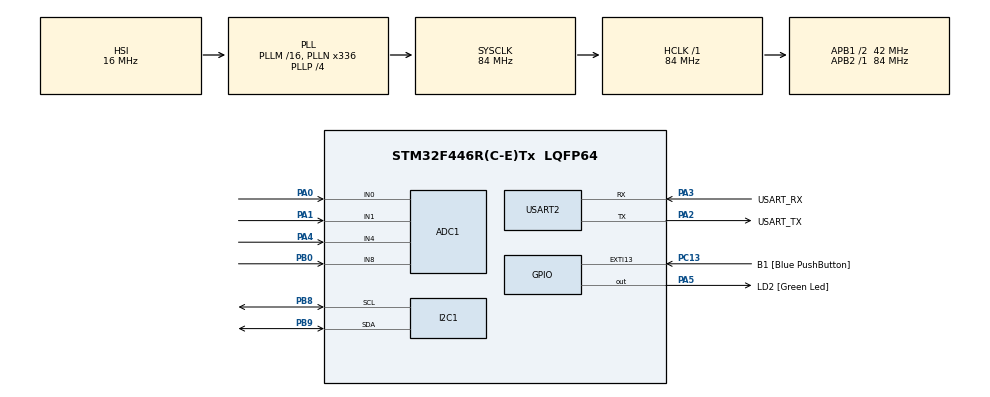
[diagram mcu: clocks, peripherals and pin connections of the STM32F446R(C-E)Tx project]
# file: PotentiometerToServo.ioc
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ADC1.Channel-0\#ChannelRegularConversion=ADC_CHANNEL_0
ADC1.Channel-1\#ChannelRegularConversion=ADC_CHANNEL_1
ADC1.Channel-2\#ChannelRegularConversion=ADC_CHANNEL_4
ADC1.Channel-3\#ChannelRegularConversion=ADC_CHANNEL_8
ADC1.ContinuousConvMode=DISABLE
ADC1.DMAContinuousRequests=ENABLE
ADC1.DiscontinuousConvMode=ENABLE
ADC1.EOCSelection=ADC_EOC_SEQ_CONV
ADC1.NbrOfConversion=4
ADC1.NbrOfConversionFlag=1
ADC1.Rank-0\#ChannelRegularConversion=1
ADC1.Rank-1\#ChannelRegularConversion=2
ADC1.Rank-2\#ChannelRegularConversion=3
ADC1.Rank-3\#ChannelRegularConversion=4
ADC1.SamplingTime-0\#ChannelRegularConversion=ADC_SAMPLETIME_3CYCLES
ADC1.SamplingTime-1\#ChannelRegularConversion=ADC_SAMPLETIME_3CYCLES
ADC1.SamplingTime-2\#ChannelRegularConversion=ADC_SAMPLETIME_3CYCLES
ADC1.SamplingTime-3\#ChannelRegularConversion=ADC_SAMPLETIME_3CYCLES
ADC1.master=1
Mcu.Family=STM32F4
Mcu.Name=STM32F446R(C-E)Tx
Mcu.Package=LQFP64
NVIC.ADC_IRQn=true\:0\:0\:true\:false\:true\:true\:true\:true
NVIC.PriorityGroup=NVIC_PRIORITYGROUP_0
PA0-WKUP.Signal=ADCx_IN0
PA1.Signal=ADCx_IN1
PA13.GPIO_Label=TMS
PA13.Mode=Serial_Wire
PA13.Signal=SYS_JTMS-SWDIO
PA14.GPIO_Label=TCK
PA14.Mode=Serial_Wire
PA14.Signal=SYS_JTCK-SWCLK
PA2.GPIO_Label=USART_TX
PA2.Mode=Asynchronous
PA2.Signal=USART2_TX
PA3.GPIO_Label=USART_RX
PA3.Mode=Asynchronous
PA3.Signal=USART2_RX
PA4.Signal=ADCx_IN4
PA5.GPIO_Label=LD2 [Green Led]
PA5.Signal=GPIO_Output
PB0.Signal=ADCx_IN8
PB3.GPIO_Label=SWO
PB3.Signal=SYS_JTDO-SWO
PB8.Mode=I2C
PB8.Signal=I2C1_SCL
PB9.Mode=I2C
PB9.Signal=I2C1_SDA
PC13.GPIO_Label=B1 [Blue PushButton]
PC13.GPIO_ModeDefaultEXTI=GPIO_MODE_IT_FALLING
PC13.Signal=GPXTI13
PC14-OSC32_IN.Mode=LSE-External-Oscillator
PC14-OSC32_IN.Signal=RCC_OSC32_IN
PC15-OSC32_OUT.Mode=LSE-External-Oscillator
PC15-OSC32_OUT.Signal=RCC_OSC32_OUT
PH0-OSC_IN.Mode=HSE-External-Oscillator
PH0-OSC_IN.Signal=RCC_OSC_IN
PH1-OSC_OUT.Mode=HSE-External-Oscillator
PH1-OSC_OUT.Signal=RCC_OSC_OUT
ProjectManager.HeapSize=0x200
ProjectManager.StackSize=0x400
ProjectManager.TargetToolchain=STM32CubeIDE
RCC.48MHZClocksFreq_Value=84000000
RCC.AHBFreq_Value=84000000
RCC.APB1CLKDivider=RCC_HCLK_DIV2
RCC.APB1Freq_Value=42000000
RCC.APB1TimFreq_Value=84000000
RCC.APB2Freq_Value=84000000
RCC.APB2TimFreq_Value=84000000
RCC.CortexFreq_Value=84000000
RCC.FLatency-AdvancedSettings=FLASH_LATENCY_2
RCC.HCLKFreq_Value=84000000
RCC.HSE_VALUE=8000000
RCC.HSI_VALUE=16000000
RCC.PLLN=336
RCC.PLLP=RCC_PLLP_DIV4
RCC.SYSCLKFreq_VALUE=84000000
RCC.SYSCLKSource=RCC_SYSCLKSOURCE_PLLCLK
RCC.USBFreq_Value=168000000
RCC.VCOOutputFreq_Value=336000000
SH.ADCx_IN0.0=ADC1_IN0,IN0
SH.ADCx_IN1.0=ADC1_IN1,IN1
SH.ADCx_IN4.0=ADC1_IN4,IN4
SH.ADCx_IN8.0=ADC1_IN8,IN8
USART2.VirtualMode=VM_ASYNC
board=NUCLEO-F446RE

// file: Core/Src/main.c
/* USER CODE BEGIN Header */
/**
  ******************************************************************************
  * @file           : main.c
  * @brief          : Main program body
  ******************************************************************************
  * @attention
  *
  * Copyright (c) 2024 STMicroelectronics.
  * All rights reserved.
  *
  * This software is licensed under terms that can be found in the LICENSE file
  * in the root directory of this software component.
  * If no LICENSE file comes with this software, it is provided AS-IS.
  *
  ******************************************************************************
  */
/* USER CODE END Header */
#include "main.h"

/* USER CODE BEGIN Includes */

#include <stdio.h>
#include <string.h>
#include "pca9685.h"
#include "math.h"

/* USER CODE END Includes */

/* USER CODE BEGIN PD */

#define POT_COUNT		4
#define SERVO_COUNT		4

/* USER CODE END PD */

ADC_HandleTypeDef hadc1;

I2C_HandleTypeDef hi2c1;

UART_HandleTypeDef huart2;

/* USER CODE BEGIN PV */

volatile uint16_t 	adcRawResults [POT_COUNT];
const uint32_t 		adcChannelCount = sizeof(adcRawResults) / sizeof(adcRawResults[0]);
volatile uint8_t 	adcConversionComplete = 0; // flag used by callback

uint8_t ActiveServo = 0;
volatile float 	servoAngles [SERVO_COUNT];

/* USER CODE END PV */

void SystemClock_Config(void);
static void MX_GPIO_Init(void);
static void MX_USART2_UART_Init(void);
static void MX_ADC1_Init(void);
static void MX_I2C1_Init(void);

/* USER CODE BEGIN 0 */

uint32_t MAP(uint32_t au32_IN, uint32_t au32_INmin, uint32_t au32_INmax, uint32_t au32_OUTmin, uint32_t au32_OUTmax)
{
    return ((((au32_IN - au32_INmin)*(au32_OUTmax - au32_OUTmin))/(au32_INmax - au32_INmin)) + au32_OUTmin);
}

/* USER CODE END 0 */

int main(void)
{

  /* MCU Configuration--------------------------------------------------------*/

  /* Reset of all peripherals, Initializes the Flash interface and the Systick. */
  HAL_Init();

  /* Configure the system clock */
  SystemClock_Config();

  /* Initialize all configured peripherals */
  MX_GPIO_Init();
  MX_USART2_UART_Init();
  MX_ADC1_Init();
  MX_I2C1_Init();
  /* USER CODE BEGIN 2 */

  PCA9685_Init(&hi2c1);
  PCA9685_SetServoAngle(0, 0);
  PCA9685_SetServoAngle(1, 0);
  PCA9685_SetServoAngle(2, 0);
  PCA9685_SetServoAngle(3, 0);

  HAL_Delay(2000);

  /* USER CODE END 2 */

  /* Infinite loop */
  /* USER CODE BEGIN WHILE */
  while (1)
  {

	  for(uint8_t i=0; i<adcChannelCount; i++){
		  HAL_ADC_Start(&hadc1);
		  HAL_ADC_PollForConversion(&hadc1, 1);
		  adcRawResults[i] = HAL_ADC_GetValue(&hadc1);

		  servoAngles[i] = (float)MAP((uint32_t)adcRawResults[i], 0, 4096, 0, 180);
		  PCA9685_SetServoAngle(i, servoAngles[i]);

	  }

    /* USER CODE END WHILE */

  }
}

void SystemClock_Config(void)
{
  RCC_OscInitTypeDef RCC_OscInitStruct = {0};
  RCC_ClkInitTypeDef RCC_ClkInitStruct = {0};

  /** Configure the main internal regulator output voltage
  */
  __HAL_RCC_PWR_CLK_ENABLE();
  __HAL_PWR_VOLTAGESCALING_CONFIG(PWR_REGULATOR_VOLTAGE_SCALE3);

  /** Initializes the RCC Oscillators according to the specified parameters
  * in the RCC_OscInitTypeDef structure.
  */
  RCC_OscInitStruct.OscillatorType = RCC_OSCILLATORTYPE_HSI;
  RCC_OscInitStruct.HSIState = RCC_HSI_ON;
  RCC_OscInitStruct.HSICalibrationValue = RCC_HSICALIBRATION_DEFAULT;
  RCC_OscInitStruct.PLL.PLLState = RCC_PLL_ON;
  RCC_OscInitStruct.PLL.PLLSource = RCC_PLLSOURCE_HSI;
  RCC_OscInitStruct.PLL.PLLM = 16;
  RCC_OscInitStruct.PLL.PLLN = 336;
  RCC_OscInitStruct.PLL.PLLP = RCC_PLLP_DIV4;
  RCC_OscInitStruct.PLL.PLLQ = 2;
  RCC_OscInitStruct.PLL.PLLR = 2;
  if (HAL_RCC_OscConfig(&RCC_OscInitStruct) != HAL_OK)
  {
    Error_Handler();
  }

  /** Initializes the CPU, AHB and APB buses clocks
  */
  RCC_ClkInitStruct.ClockType = RCC_CLOCKTYPE_HCLK|RCC_CLOCKTYPE_SYSCLK
                              |RCC_CLOCKTYPE_PCLK1|RCC_CLOCKTYPE_PCLK2;
  RCC_ClkInitStruct.SYSCLKSource = RCC_SYSCLKSOURCE_PLLCLK;
  RCC_ClkInitStruct.AHBCLKDivider = RCC_SYSCLK_DIV1;
  RCC_ClkInitStruct.APB1CLKDivider = RCC_HCLK_DIV2;
  RCC_ClkInitStruct.APB2CLKDivider = RCC_HCLK_DIV1;

  if (HAL_RCC_ClockConfig(&RCC_ClkInitStruct, FLASH_LATENCY_2) != HAL_OK)
  {
    Error_Handler();
  }
}

static void MX_ADC1_Init(void)
{

  ADC_ChannelConfTypeDef sConfig = {0};

  /** Configure the global features of the ADC (Clock, Resolution, Data Alignment and number of conversion)
  */
  hadc1.Instance = ADC1;
  hadc1.Init.ClockPrescaler = ADC_CLOCK_SYNC_PCLK_DIV4;
  hadc1.Init.Resolution = ADC_RESOLUTION_12B;
  hadc1.Init.ScanConvMode = ENABLE;
  hadc1.Init.ContinuousConvMode = DISABLE;
  hadc1.Init.DiscontinuousConvMode = ENABLE;
  hadc1.Init.NbrOfDiscConversion = 1;
  hadc1.Init.ExternalTrigConvEdge = ADC_EXTERNALTRIGCONVEDGE_NONE;
  hadc1.Init.ExternalTrigConv = ADC_SOFTWARE_START;
  hadc1.Init.DataAlign = ADC_DATAALIGN_RIGHT;
  hadc1.Init.NbrOfConversion = 4;
  hadc1.Init.DMAContinuousRequests = ENABLE;
  hadc1.Init.EOCSelection = ADC_EOC_SEQ_CONV;
  if (HAL_ADC_Init(&hadc1) != HAL_OK)
  {
    Error_Handler();
  }

  /** Configure for the selected ADC regular channel its corresponding rank in the sequencer and its sample time.
  */
  sConfig.Channel = ADC_CHANNEL_0;
  sConfig.Rank = 1;
  sConfig.SamplingTime = ADC_SAMPLETIME_3CYCLES;
  if (HAL_ADC_ConfigChannel(&hadc1, &sConfig) != HAL_OK)
  {
    Error_Handler();
  }

  /** Configure for the selected ADC regular channel its corresponding rank in the sequencer and its sample time.
  */
  sConfig.Channel = ADC_CHANNEL_1;
  sConfig.Rank = 2;
  if (HAL_ADC_ConfigChannel(&hadc1, &sConfig) != HAL_OK)
  {
    Error_Handler();
  }

  /** Configure for the selected ADC regular channel its corresponding rank in the sequencer and its sample time.
  */
  sConfig.Channel = ADC_CHANNEL_4;
  sConfig.Rank = 3;
  if (HAL_ADC_ConfigChannel(&hadc1, &sConfig) != HAL_OK)
  {
    Error_Handler();
  }

  /** Configure for the selected ADC regular channel its corresponding rank in the sequencer and its sample time.
  */
  sConfig.Channel = ADC_CHANNEL_8;
  sConfig.Rank = 4;
  if (HAL_ADC_ConfigChannel(&hadc1, &sConfig) != HAL_OK)
  {
    Error_Handler();
  }

}

static void MX_I2C1_Init(void)
{

  hi2c1.Instance = I2C1;
  hi2c1.Init.ClockSpeed = 100000;
  hi2c1.Init.DutyCycle = I2C_DUTYCYCLE_2;
  hi2c1.Init.OwnAddress1 = 0;
  hi2c1.Init.AddressingMode = I2C_ADDRESSINGMODE_7BIT;
  hi2c1.Init.DualAddressMode = I2C_DUALADDRESS_DISABLE;
  hi2c1.Init.OwnAddress2 = 0;
  hi2c1.Init.GeneralCallMode = I2C_GENERALCALL_DISABLE;
  hi2c1.Init.NoStretchMode = I2C_NOSTRETCH_DISABLE;
  if (HAL_I2C_Init(&hi2c1) != HAL_OK)
  {
    Error_Handler();
  }

}

static void MX_USART2_UART_Init(void)
{

  huart2.Instance = USART2;
  huart2.Init.BaudRate = 115200;
  huart2.Init.WordLength = UART_WORDLENGTH_8B;
  huart2.Init.StopBits = UART_STOPBITS_1;
  huart2.Init.Parity = UART_PARITY_NONE;
  huart2.Init.Mode = UART_MODE_TX_RX;
  huart2.Init.HwFlowCtl = UART_HWCONTROL_NONE;
  huart2.Init.OverSampling = UART_OVERSAMPLING_16;
  if (HAL_UART_Init(&huart2) != HAL_OK)
  {
    Error_Handler();
  }

}

static void MX_GPIO_Init(void)
{
  GPIO_InitTypeDef GPIO_InitStruct = {0};

  /* GPIO Ports Clock Enable */
  __HAL_RCC_GPIOC_CLK_ENABLE();
  __HAL_RCC_GPIOH_CLK_ENABLE();
  __HAL_RCC_GPIOA_CLK_ENABLE();
  __HAL_RCC_GPIOB_CLK_ENABLE();

  /*Configure GPIO pin Output Level */
  HAL_GPIO_WritePin(LD2_GPIO_Port, LD2_Pin, GPIO_PIN_RESET);

  /*Configure GPIO pin : B1_Pin */
  GPIO_InitStruct.Pin = B1_Pin;
  GPIO_InitStruct.Mode = GPIO_MODE_IT_FALLING;
  GPIO_InitStruct.Pull = GPIO_NOPULL;
  HAL_GPIO_Init(B1_GPIO_Port, &GPIO_InitStruct);

  /*Configure GPIO pin : LD2_Pin */
  GPIO_InitStruct.Pin = LD2_Pin;
  GPIO_InitStruct.Mode = GPIO_MODE_OUTPUT_PP;
  GPIO_InitStruct.Pull = GPIO_NOPULL;
  GPIO_InitStruct.Speed = GPIO_SPEED_FREQ_LOW;
  HAL_GPIO_Init(LD2_GPIO_Port, &GPIO_InitStruct);

}

void Error_Handler(void)
{
  __disable_irq();
  while (1)
  {
  }
}
